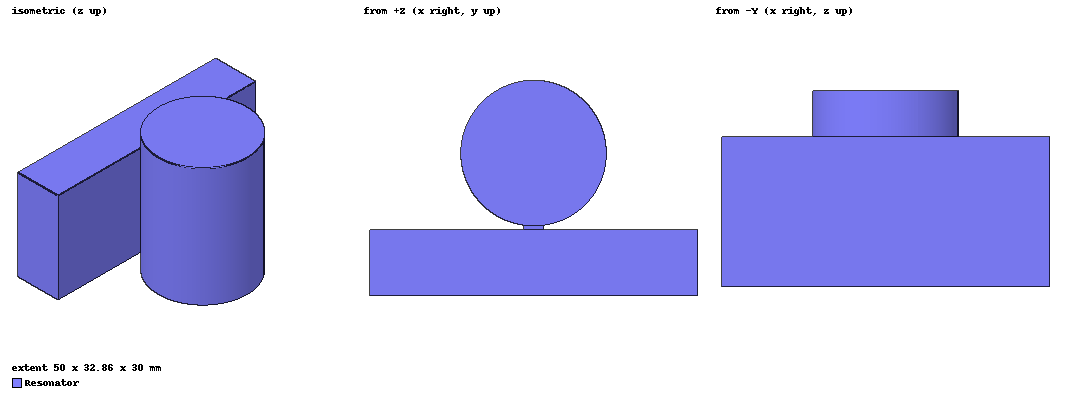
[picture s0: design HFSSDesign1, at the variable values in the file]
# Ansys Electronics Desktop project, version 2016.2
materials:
  vacuum: permittivity=1

design HFSSDesign1 (HFSS, DrivenModal, model units mm)
options: Calculate_Lossy_Dielectrics
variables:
  Lw = 50mm
  b = 10.16mm
  a = 22.86mm
  r_aperture = 6mm
  h_aperture = 0.1mm
  r_cavity = (11+0.1) mm
  delta = 8.8mm
  a_aperture = 3.2mm
  b_aperture = 9.8mm
  length_apertur = 5mm
  d = 30mm
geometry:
  WG = box(corner=(-Lw/2, -b/2, 0mm), size=(Lw, b, a))
  Resonator [vacuum] = cylinder(axis=Z, base_centre=(0mm, b/2 +length_apertur/10+r_cavity, 0mm), radius=r_cavity, height=d)
  Rectangle1 [non-model] = rectangle(corner=(0mm, -b/2, 0), y_size=h_aperture+2*r_cavity+b, z_size=d)
  Box1 = box(corner=(-a_aperture/2, b/2-length_apertur/2, a/2-b_aperture/2), size=(a_aperture, length_apertur, b_aperture))
  Resonator.unite(WG, Box1)
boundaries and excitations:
  PerfE2: Perfect E Faces=Resonator.face(1 of 6, 2 of 6, 3 of 6, 5 of 6, 1 of 3, 2 of 3, 3 of 3, 1 of 6, 2 of 6, 4 of 6, 6 of 6)
  1: Wave Port Faces=Resonator.face(4 of 6) NumModes=1 Modes{Mode1{IntLine{middle of Resonator.edge(9 of 12) -> middle of Resonator.edge(11 of 12)} CharImp=Zpi}}
  2: Wave Port Faces=Resonator.face(6 of 6) NumModes=1 Modes{Mode1{IntLine{middle of Resonator.edge(10 of 12) -> middle of Resonator.edge(12 of 12)} CharImp=Zpi}}
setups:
  Setup1: HfssDriven Frequency=10GHz MaxDeltaS=0.02 MaximumPasses=6 MinimumPasses=1 MinimumConvergedPasses=1 PercentRefinement=30 BasisOrder=1 PortAccuracy=2
    sweep Sweep: 9GHz to 11GHz step 1MHz; Type=Interpolating InterpTolerance=0.5 InterpMaxSolns=250 InterpUsePortImped=false
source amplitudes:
  1:1: 1W 0deg
  2:1: 0W 0deg
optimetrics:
  ParametricSetup1: Parametric Sim._Setups=[Setup1]
    sweep d: LIN 30mm 30.1mm 0.1mm
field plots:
  Vector_E1: E Field over a plane on Setup1 : LastAdaptive at Freq=10GHz Phase=0deg
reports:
  XY Plot 1: dB(S(2,1)) vs Freq on Setup1 : Sweep
  XY Plot 2: dB(S(1,1)) vs Freq on Setup1 : Sweep
  XY Plot 3: dB(S(1,2)) vs Freq on Setup1 : Sweep
  XY Plot 4: dB(S(2,1)) vs Freq on Setup1 : Sweep
  XY Plot 5: dB(S(2,2)) vs Freq on Setup1 : Sweep
  XY Plot 6: dB(S(2,1)) vs Freq on Setup1 : Sweep
  XY Plot 7: dB(S(2,1)) vs Freq on Setup1 : Sweep
  XY Plot 8: dB(S(2,1)) vs Freq on Setup1 : Sweep [d=all]; markers m1 at 9.24GHz, m2 at 9.246GHz
